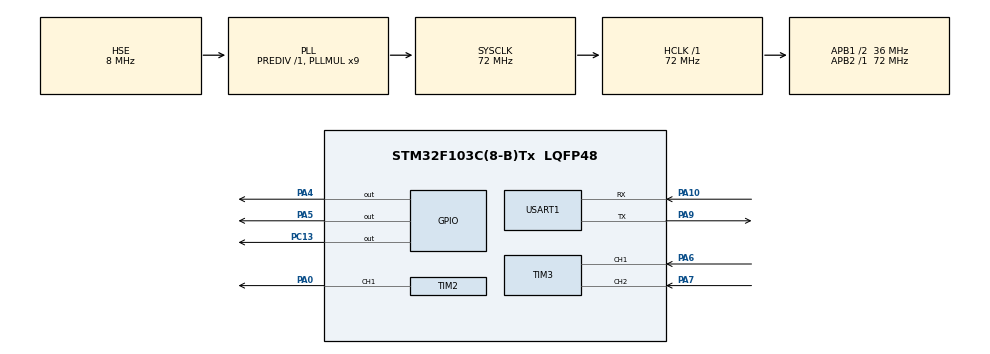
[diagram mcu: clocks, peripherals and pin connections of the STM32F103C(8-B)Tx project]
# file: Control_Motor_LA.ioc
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Mcu.Family=STM32F1
Mcu.Name=STM32F103C(8-B)Tx
Mcu.Package=LQFP48
NVIC.PriorityGroup=NVIC_PRIORITYGROUP_4
NVIC.TIM1_BRK_IRQn=true\:0\:0\:false\:false\:true\:true\:true
NVIC.TIM1_CC_IRQn=true\:0\:0\:false\:false\:true\:true\:true
NVIC.TIM1_TRG_COM_IRQn=true\:0\:0\:false\:false\:true\:true\:true
NVIC.TIM1_UP_IRQn=true\:0\:0\:false\:false\:true\:true\:true
NVIC.TIM2_IRQn=true\:0\:0\:false\:false\:true\:true\:true
NVIC.TIM3_IRQn=true\:0\:0\:false\:false\:true\:true\:true
NVIC.USART1_IRQn=true\:0\:0\:false\:false\:true\:true\:true
PA0-WKUP.Signal=S_TIM2_CH1_ETR
PA10.Mode=Asynchronous
PA10.Signal=USART1_RX
PA4.Signal=GPIO_Output
PA5.Signal=GPIO_Output
PA6.Signal=S_TIM3_CH1
PA7.Signal=S_TIM3_CH2
PA9.Mode=Asynchronous
PA9.Signal=USART1_TX
PC13-TAMPER-RTC.Signal=GPIO_Output
PD0-OSC_IN.Mode=HSE-External-Oscillator
PD0-OSC_IN.Signal=RCC_OSC_IN
PD1-OSC_OUT.Mode=HSE-External-Oscillator
PD1-OSC_OUT.Signal=RCC_OSC_OUT
ProjectManager.HeapSize=0x200
ProjectManager.StackSize=0x400
ProjectManager.TargetToolchain=STM32CubeIDE
RCC.AHBFreq_Value=72000000
RCC.APB1CLKDivider=RCC_HCLK_DIV2
RCC.APB1Freq_Value=36000000
RCC.APB1TimFreq_Value=72000000
RCC.APB2Freq_Value=72000000
RCC.APB2TimFreq_Value=72000000
RCC.HCLKFreq_Value=72000000
RCC.PLLMUL=RCC_PLL_MUL9
RCC.PLLSourceVirtual=RCC_PLLSOURCE_HSE
RCC.SYSCLKFreq_VALUE=72000000
RCC.SYSCLKSource=RCC_SYSCLKSOURCE_PLLCLK
RCC.USBFreq_Value=72000000
SH.S_TIM2_CH1_ETR.0=TIM2_CH1,PWM Generation1 CH1
SH.S_TIM3_CH1.0=TIM3_CH1,Encoder_Interface
SH.S_TIM3_CH2.0=TIM3_CH2,Encoder_Interface
TIM1.Channel-Output\ Compare1\ No\ Output=TIM_CHANNEL_1
TIM2.Channel-PWM\ Generation1\ CH1=TIM_CHANNEL_1
USART1.VirtualMode=VM_ASYNC
VP_SYS_VS_ND.Mode=No_Debug
VP_TIM1_VS_no_output1.Mode=Output Compare1 No Output
board=custom

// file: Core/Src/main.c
/* USER CODE BEGIN Header */
/**
  ******************************************************************************
  * @file           : main.c
  * @brief          : Main program body
  ******************************************************************************
  * @attention
  *
  * <h2><center>&copy; Copyright (c) 2020 STMicroelectronics.
  * All rights reserved.</center></h2>
  *
  * This software component is licensed by ST under BSD 3-Clause license,
  * the "License"; You may not use this file except in compliance with the
  * License. You may obtain a copy of the License at:
  *                        opensource.org/licenses/BSD-3-Clause
  *
  ******************************************************************************
  */
/* USER CODE END Header */

#include "main.h"

/* USER CODE BEGIN Includes */

#include "stdlib.h"
#include <stdio.h>
#include <inttypes.h>
#include "retarget.h"

/* USER CODE END Includes */

/* USER CODE BEGIN PD */

#define MAX_BUFFER 20

/* USER CODE END PD */

TIM_HandleTypeDef htim1;
TIM_HandleTypeDef htim2;
TIM_HandleTypeDef htim3;

UART_HandleTypeDef huart1;

/* USER CODE BEGIN PV */

uint8_t byte, indRx, flagRx, imprimir = 1, sentido;
char buffer[MAX_BUFFER];
int contOUFlow = 0, pulsosAnt = 0, pulsosAct = 0;
float velocidadPulsos = 0, velocidadRPM = 0, deltaT = 0.01;

/* USER CODE END PV */

void SystemClock_Config(void);
static void MX_GPIO_Init(void);
static void MX_TIM1_Init(void);
static void MX_TIM2_Init(void);
static void MX_TIM3_Init(void);
static void MX_USART1_UART_Init(void);

/* USER CODE BEGIN 0 */

void interpreteComando(){

	uint32_t duty_cycle;
	double consigna;

	switch(buffer[0]){
	case 'W':
	case 'w':
		switch(buffer[1]){
		case 'I':
		case 'i':
			HAL_GPIO_WritePin(GPIOA, GPIO_PIN_4, 0);
			HAL_GPIO_WritePin(GPIOA, GPIO_PIN_5, 1);
			consigna = atof(&buffer[2]);
			duty_cycle = (uint32_t) ((consigna/23) * __HAL_TIM_GET_AUTORELOAD(&htim2));
			__HAL_TIM_SET_COMPARE(&htim2, TIM_CHANNEL_1, duty_cycle);
			printf("\r\n Duty Cycle (inversion de marcha):  %" PRIu32 "\r\n", duty_cycle);
			//imprimir = 1;
			break;
		default:
			HAL_GPIO_WritePin(GPIOA, GPIO_PIN_4, 1);
			HAL_GPIO_WritePin(GPIOA, GPIO_PIN_5, 0);
			consigna = atof(&buffer[1]);
			duty_cycle = (uint32_t) ((consigna/23) * __HAL_TIM_GET_AUTORELOAD(&htim2));
			__HAL_TIM_SET_COMPARE(&htim2, TIM_CHANNEL_1, duty_cycle);
			printf("\r\n Duty Cycle: %" PRIu32 "\r\n", __HAL_TIM_GET_COMPARE(&htim2,TIM_CHANNEL_1));
			//imprimir = 1;

		}
	}

}
/* USER CODE END 0 */

int main(void)
{

  /* MCU Configuration--------------------------------------------------------*/

  /* Reset of all peripherals, Initializes the Flash interface and the Systick. */
  HAL_Init();

  /* Configure the system clock */
  SystemClock_Config();

  /* Initialize all configured peripherals */
  MX_GPIO_Init();
  MX_TIM1_Init();
  MX_TIM2_Init();
  MX_TIM3_Init();
  MX_USART1_UART_Init();
  /* USER CODE BEGIN 2 */

  RetargetInit(&huart1);

  HAL_UART_Receive_IT(&huart1, &byte, 1);

  HAL_TIM_Base_Start_IT(&htim1);
  HAL_TIM_OC_Start_IT(&htim1, TIM_CHANNEL_1);

  HAL_TIM_Base_Start_IT(&htim2);
  HAL_TIM_PWM_Start_IT(&htim2, TIM_CHANNEL_1);

  HAL_TIM_Base_Start_IT(&htim3);
  HAL_TIM_Encoder_Start_IT(&htim3, TIM_CHANNEL_ALL);

  HAL_GPIO_WritePin(GPIOA, GPIO_PIN_4, 1);
  HAL_GPIO_WritePin(GPIOA, GPIO_PIN_5, 0);

  /* USER CODE END 2 */

  /* Infinite loop */
  while (1)
  {
	  //printf("\r\nPrende led pc13\r\n");
	  HAL_GPIO_WritePin(GPIOC, GPIO_PIN_13, 1);
	  HAL_Delay(100);
	  HAL_GPIO_WritePin(GPIOC, GPIO_PIN_13, 0);
	  HAL_Delay(100);

  }
}

void SystemClock_Config(void)
{
  RCC_OscInitTypeDef RCC_OscInitStruct = {0};
  RCC_ClkInitTypeDef RCC_ClkInitStruct = {0};

  /** Initializes the CPU, AHB and APB busses clocks
  */
  RCC_OscInitStruct.OscillatorType = RCC_OSCILLATORTYPE_HSE;
  RCC_OscInitStruct.HSEState = RCC_HSE_ON;
  RCC_OscInitStruct.HSEPredivValue = RCC_HSE_PREDIV_DIV1;
  RCC_OscInitStruct.HSIState = RCC_HSI_ON;
  RCC_OscInitStruct.PLL.PLLState = RCC_PLL_ON;
  RCC_OscInitStruct.PLL.PLLSource = RCC_PLLSOURCE_HSE;
  RCC_OscInitStruct.PLL.PLLMUL = RCC_PLL_MUL9;
  if (HAL_RCC_OscConfig(&RCC_OscInitStruct) != HAL_OK)
  {
    Error_Handler();
  }
  /** Initializes the CPU, AHB and APB busses clocks
  */
  RCC_ClkInitStruct.ClockType = RCC_CLOCKTYPE_HCLK|RCC_CLOCKTYPE_SYSCLK
                              |RCC_CLOCKTYPE_PCLK1|RCC_CLOCKTYPE_PCLK2;
  RCC_ClkInitStruct.SYSCLKSource = RCC_SYSCLKSOURCE_PLLCLK;
  RCC_ClkInitStruct.AHBCLKDivider = RCC_SYSCLK_DIV1;
  RCC_ClkInitStruct.APB1CLKDivider = RCC_HCLK_DIV2;
  RCC_ClkInitStruct.APB2CLKDivider = RCC_HCLK_DIV1;

  if (HAL_RCC_ClockConfig(&RCC_ClkInitStruct, FLASH_LATENCY_2) != HAL_OK)
  {
    Error_Handler();
  }
}

static void MX_TIM1_Init(void)
{

  TIM_MasterConfigTypeDef sMasterConfig = {0};
  TIM_OC_InitTypeDef sConfigOC = {0};
  TIM_BreakDeadTimeConfigTypeDef sBreakDeadTimeConfig = {0};

  htim1.Instance = TIM1;
  htim1.Init.Prescaler = 12;
  htim1.Init.CounterMode = TIM_COUNTERMODE_UP;
  htim1.Init.Period = 59999; // Con el prescaler en 12, se obtiene un periodo de 10ms, se busca que se reinicie el timer una vez que cuente 10ms.
  htim1.Init.ClockDivision = TIM_CLOCKDIVISION_DIV1;
  htim1.Init.RepetitionCounter = 0;
  htim1.Init.AutoReloadPreload = TIM_AUTORELOAD_PRELOAD_DISABLE;
  if (HAL_TIM_OC_Init(&htim1) != HAL_OK)
  {
    Error_Handler();
  }
  sMasterConfig.MasterOutputTrigger = TIM_TRGO_RESET;
  sMasterConfig.MasterSlaveMode = TIM_MASTERSLAVEMODE_DISABLE;
  if (HAL_TIMEx_MasterConfigSynchronization(&htim1, &sMasterConfig) != HAL_OK)
  {
    Error_Handler();
  }
  sConfigOC.OCMode = TIM_OCMODE_TIMING;
  sConfigOC.Pulse = 59999;
  sConfigOC.OCPolarity = TIM_OCPOLARITY_HIGH;
  sConfigOC.OCNPolarity = TIM_OCNPOLARITY_HIGH;
  sConfigOC.OCFastMode = TIM_OCFAST_DISABLE;
  sConfigOC.OCIdleState = TIM_OCIDLESTATE_RESET;
  sConfigOC.OCNIdleState = TIM_OCNIDLESTATE_RESET;
  if (HAL_TIM_OC_ConfigChannel(&htim1, &sConfigOC, TIM_CHANNEL_1) != HAL_OK)
  {
    Error_Handler();
  }
  sBreakDeadTimeConfig.OffStateRunMode = TIM_OSSR_DISABLE;
  sBreakDeadTimeConfig.OffStateIDLEMode = TIM_OSSI_DISABLE;
  sBreakDeadTimeConfig.LockLevel = TIM_LOCKLEVEL_OFF;
  sBreakDeadTimeConfig.DeadTime = 0;
  sBreakDeadTimeConfig.BreakState = TIM_BREAK_DISABLE;
  sBreakDeadTimeConfig.BreakPolarity = TIM_BREAKPOLARITY_HIGH;
  sBreakDeadTimeConfig.AutomaticOutput = TIM_AUTOMATICOUTPUT_DISABLE;
  if (HAL_TIMEx_ConfigBreakDeadTime(&htim1, &sBreakDeadTimeConfig) != HAL_OK)
  {
    Error_Handler();
  }

}

static void MX_TIM2_Init(void)
{

  TIM_MasterConfigTypeDef sMasterConfig = {0};
  TIM_OC_InitTypeDef sConfigOC = {0};

  htim2.Instance = TIM2;
  htim2.Init.Prescaler = 1;
  htim2.Init.CounterMode = TIM_COUNTERMODE_UP;
  htim2.Init.Period = 36000;
  htim2.Init.ClockDivision = TIM_CLOCKDIVISION_DIV1;
  htim2.Init.AutoReloadPreload = TIM_AUTORELOAD_PRELOAD_DISABLE;
  if (HAL_TIM_Base_Init(&htim2) != HAL_OK)
  {
    Error_Handler();
  }
  if (HAL_TIM_PWM_Init(&htim2) != HAL_OK)
  {
    Error_Handler();
  }
  sMasterConfig.MasterOutputTrigger = TIM_TRGO_RESET;
  sMasterConfig.MasterSlaveMode = TIM_MASTERSLAVEMODE_DISABLE;
  if (HAL_TIMEx_MasterConfigSynchronization(&htim2, &sMasterConfig) != HAL_OK)
  {
    Error_Handler();
  }
  sConfigOC.OCMode = TIM_OCMODE_PWM1;
  sConfigOC.Pulse = 18000; //Se modifica por codigo.
  sConfigOC.OCPolarity = TIM_OCPOLARITY_HIGH;
  sConfigOC.OCFastMode = TIM_OCFAST_DISABLE;
  if (HAL_TIM_PWM_ConfigChannel(&htim2, &sConfigOC, TIM_CHANNEL_1) != HAL_OK)
  {
    Error_Handler();
  }
  HAL_TIM_MspPostInit(&htim2);

}

static void MX_TIM3_Init(void)
{

  TIM_Encoder_InitTypeDef sConfig = {0};
  TIM_MasterConfigTypeDef sMasterConfig = {0};

  htim3.Instance = TIM3;
  htim3.Init.Prescaler = 0;
  htim3.Init.CounterMode = TIM_COUNTERMODE_UP;
  htim3.Init.Period = 64999; //Para utilizar un numero redondo.
  htim3.Init.ClockDivision = TIM_CLOCKDIVISION_DIV1;
  htim3.Init.AutoReloadPreload = TIM_AUTORELOAD_PRELOAD_DISABLE;
  sConfig.EncoderMode = TIM_ENCODERMODE_TI12;
  sConfig.IC1Polarity = TIM_ICPOLARITY_RISING;
  sConfig.IC1Selection = TIM_ICSELECTION_DIRECTTI;
  sConfig.IC1Prescaler = TIM_ICPSC_DIV1;
  sConfig.IC1Filter = 0;
  sConfig.IC2Polarity = TIM_ICPOLARITY_RISING;
  sConfig.IC2Selection = TIM_ICSELECTION_DIRECTTI;
  sConfig.IC2Prescaler = TIM_ICPSC_DIV1;
  sConfig.IC2Filter = 0;
  if (HAL_TIM_Encoder_Init(&htim3, &sConfig) != HAL_OK)
  {
    Error_Handler();
  }
  sMasterConfig.MasterOutputTrigger = TIM_TRGO_RESET;
  sMasterConfig.MasterSlaveMode = TIM_MASTERSLAVEMODE_DISABLE;
  if (HAL_TIMEx_MasterConfigSynchronization(&htim3, &sMasterConfig) != HAL_OK)
  {
    Error_Handler();
  }

}

static void MX_USART1_UART_Init(void)
{

  huart1.Instance = USART1;
  huart1.Init.BaudRate = 115200;
  huart1.Init.WordLength = UART_WORDLENGTH_8B;
  huart1.Init.StopBits = UART_STOPBITS_1;
  huart1.Init.Parity = UART_PARITY_NONE;
  huart1.Init.Mode = UART_MODE_TX_RX;
  huart1.Init.HwFlowCtl = UART_HWCONTROL_NONE;
  huart1.Init.OverSampling = UART_OVERSAMPLING_16;
  if (HAL_UART_Init(&huart1) != HAL_OK)
  {
    Error_Handler();
  }

}

static void MX_GPIO_Init(void)
{
  GPIO_InitTypeDef GPIO_InitStruct = {0};

  /* GPIO Ports Clock Enable */
  __HAL_RCC_GPIOC_CLK_ENABLE();
  __HAL_RCC_GPIOD_CLK_ENABLE();
  __HAL_RCC_GPIOA_CLK_ENABLE();

  /*Configure GPIO pin Output Level */
  HAL_GPIO_WritePin(GPIOC, GPIO_PIN_13, GPIO_PIN_RESET);

  /*Configure GPIO pin Output Level */
  HAL_GPIO_WritePin(GPIOA, GPIO_PIN_4|GPIO_PIN_5, GPIO_PIN_RESET);

  /*Configure GPIO pin : PC13 */
  GPIO_InitStruct.Pin = GPIO_PIN_13;
  GPIO_InitStruct.Mode = GPIO_MODE_OUTPUT_PP;
  GPIO_InitStruct.Pull = GPIO_NOPULL;
  GPIO_InitStruct.Speed = GPIO_SPEED_FREQ_LOW;
  HAL_GPIO_Init(GPIOC, &GPIO_InitStruct);

  /*Configure GPIO pins : PA4 PA5 */
  GPIO_InitStruct.Pin = GPIO_PIN_4|GPIO_PIN_5;
  GPIO_InitStruct.Mode = GPIO_MODE_OUTPUT_PP;
  GPIO_InitStruct.Pull = GPIO_NOPULL;
  GPIO_InitStruct.Speed = GPIO_SPEED_FREQ_LOW;
  HAL_GPIO_Init(GPIOA, &GPIO_InitStruct);

}

/* USER CODE BEGIN 4 */

void HAL_TIM_PeriodElapsedCallback (TIM_HandleTypeDef *htim){
	if(htim->Instance == TIM1){
		pulsosAct = contOUFlow*(htim->Init.Period+1) + __HAL_TIM_GET_COUNTER(&htim3);
		velocidadPulsos = (pulsosAct - pulsosAnt)/deltaT;
		velocidadRPM = velocidadPulsos/(168*44) * 60;
		pulsosAnt = pulsosAct;
		if(imprimir){
			//printf("\r\nVelocidad: %f\r\n", velocidadRPM);
		}
	}else if(htim->Instance == TIM3){
		if(__HAL_TIM_GET_COUNTER(&htim3) > (htim->Init.Period+1)/2){ //Underflow
			contOUFlow--;
		}else{ //Overflow
			contOUFlow++;
		}
	}
}

void HAL_TIM_PWM_PulseFinishedCallback(TIM_HandleTypeDef *htim)
{
	printf("\r\nPulso\r\n");
	printf("\r\n Duty Cycle: %" PRIu32 "\r\n", __HAL_TIM_GET_COMPARE(&htim2,TIM_CHANNEL_1));
}

void HAL_UART_RxCpltCallback(UART_HandleTypeDef *huart){

	  if (huart->Instance == USART1)
	  {
		  switch(byte){
		  	  case ':': //Comienzo de la trama
		  		  flagRx = 1;
		  		  imprimir = 0;
		  		  HAL_UART_Transmit(&huart1, &byte, 1, 100);
		  		  indRx = 0;
		  		  break;
		  	  case '\r': //Retorno, fin de trama.
		  	  case ';':  //Fin de trama.
		  		HAL_UART_Transmit(&huart1, &byte, 1, 100);
		  		  if(flagRx){
		  			flagRx = 0;
		  			buffer[indRx] = 0;
		  			interpreteComando();
		  		  }
		  		  break;
		  	  case 8: //Retroceso es permitido de esta manera.
		  		  if(flagRx){
		  			  if(indRx > 0) indRx--;
		  		  }
		  		  break;
		  	  default: //Almacenamiento de la trama.
		  		HAL_UART_Transmit(&huart1, &byte, 1, 100);
		  		  if(flagRx){
		  			  buffer[indRx] = byte;
		  			  if(indRx < MAX_BUFFER - 1) indRx++;
		  		  }
		  }

	    /* Receive one byte in interrupt mode */
	    HAL_UART_Receive_IT(&huart1, &byte, 1);
	  }
}

/* USER CODE END 4 */

void Error_Handler(void)
{
}

/************************ (C) COPYRIGHT STMicroelectronics *****END OF FILE****/
